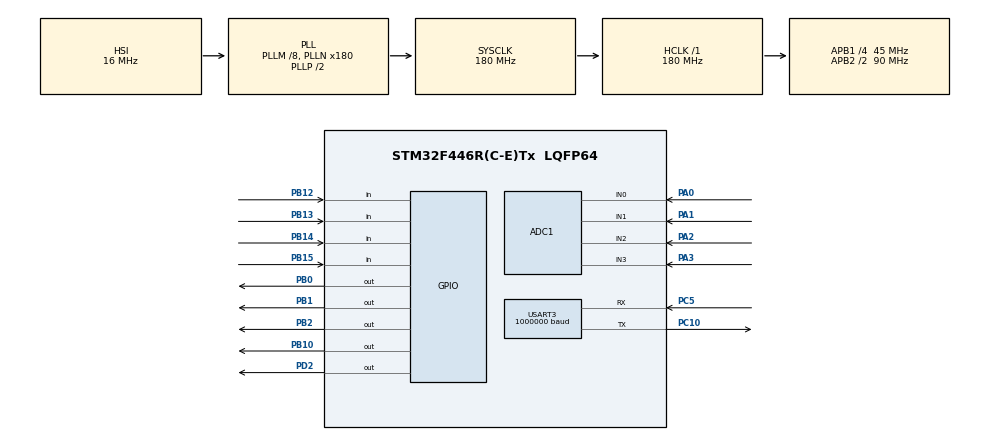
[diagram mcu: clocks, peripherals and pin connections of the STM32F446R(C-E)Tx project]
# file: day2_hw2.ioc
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ADC1.Channel-0\#ChannelRegularConversion=ADC_CHANNEL_0
ADC1.Channel-1\#ChannelRegularConversion=ADC_CHANNEL_1
ADC1.Channel-2\#ChannelRegularConversion=ADC_CHANNEL_2
ADC1.Channel-3\#ChannelRegularConversion=ADC_CHANNEL_3
ADC1.DMAContinuousRequests=ENABLE
ADC1.ExternalTrigConv=ADC_EXTERNALTRIGCONV_T8_TRGO
ADC1.NbrOfConversion=4
ADC1.NbrOfConversionFlag=1
ADC1.Rank-0\#ChannelRegularConversion=1
ADC1.Rank-1\#ChannelRegularConversion=2
ADC1.Rank-2\#ChannelRegularConversion=3
ADC1.Rank-3\#ChannelRegularConversion=4
ADC1.SamplingTime-0\#ChannelRegularConversion=ADC_SAMPLETIME_15CYCLES
ADC1.SamplingTime-1\#ChannelRegularConversion=ADC_SAMPLETIME_15CYCLES
ADC1.SamplingTime-2\#ChannelRegularConversion=ADC_SAMPLETIME_15CYCLES
ADC1.SamplingTime-3\#ChannelRegularConversion=ADC_SAMPLETIME_15CYCLES
ADC1.ScanConvMode=ENABLE
ADC1.master=1
Dma.ADC1.0.Direction=DMA_PERIPH_TO_MEMORY
Dma.ADC1.0.FIFOMode=DMA_FIFOMODE_DISABLE
Dma.ADC1.0.Instance=DMA2_Stream0
Dma.ADC1.0.MemDataAlignment=DMA_MDATAALIGN_WORD
Dma.ADC1.0.MemInc=DMA_MINC_ENABLE
Dma.ADC1.0.Mode=DMA_CIRCULAR
Dma.ADC1.0.PeriphDataAlignment=DMA_PDATAALIGN_WORD
Dma.ADC1.0.PeriphInc=DMA_PINC_DISABLE
Dma.ADC1.0.Priority=DMA_PRIORITY_LOW
Dma.Request0=ADC1
Dma.Request1=USART3_RX
Dma.USART3_RX.1.Direction=DMA_PERIPH_TO_MEMORY
Dma.USART3_RX.1.FIFOMode=DMA_FIFOMODE_DISABLE
Dma.USART3_RX.1.Instance=DMA1_Stream1
Dma.USART3_RX.1.MemDataAlignment=DMA_MDATAALIGN_BYTE
Dma.USART3_RX.1.MemInc=DMA_MINC_ENABLE
Dma.USART3_RX.1.Mode=DMA_CIRCULAR
Dma.USART3_RX.1.PeriphDataAlignment=DMA_PDATAALIGN_BYTE
Dma.USART3_RX.1.PeriphInc=DMA_PINC_DISABLE
Dma.USART3_RX.1.Priority=DMA_PRIORITY_LOW
Mcu.Family=STM32F4
Mcu.Name=STM32F446R(C-E)Tx
Mcu.Package=LQFP64
NVIC.ADC_IRQn=true\:0\:0\:false\:false\:true\:true\:true\:true
NVIC.DMA1_Stream1_IRQn=true\:0\:0\:false\:false\:true\:false\:true\:true
NVIC.DMA2_Stream0_IRQn=true\:0\:0\:false\:false\:true\:false\:true\:true
NVIC.PriorityGroup=NVIC_PRIORITYGROUP_4
NVIC.TIM6_DAC_IRQn=true\:0\:0\:false\:false\:true\:true\:true\:true
NVIC.TIM8_UP_TIM13_IRQn=true\:0\:0\:false\:false\:true\:true\:true\:true
NVIC.USART3_IRQn=true\:0\:0\:false\:false\:true\:true\:true\:true
PA0-WKUP.Signal=ADCx_IN0
PA1.Signal=ADCx_IN1
PA13.Mode=Serial_Wire
PA13.Signal=SYS_JTMS-SWDIO
PA14.Mode=Serial_Wire
PA14.Signal=SYS_JTCK-SWCLK
PA2.Signal=ADCx_IN2
PA3.Signal=ADCx_IN3
PB0.Signal=GPIO_Output
PB1.Signal=GPIO_Output
PB10.Signal=GPIO_Output
PB12.Signal=GPIO_Input
PB13.Signal=GPIO_Input
PB14.Signal=GPIO_Input
PB15.Signal=GPIO_Input
PB2.Signal=GPIO_Output
PC10.Mode=Asynchronous
PC10.Signal=USART3_TX
PC5.Mode=Asynchronous
PC5.Signal=USART3_RX
PD2.Signal=GPIO_Output
PH0-OSC_IN.Mode=HSE-External-Oscillator
PH0-OSC_IN.Signal=RCC_OSC_IN
PH1-OSC_OUT.Mode=HSE-External-Oscillator
PH1-OSC_OUT.Signal=RCC_OSC_OUT
ProjectManager.HeapSize=0x200
ProjectManager.StackSize=0x400
ProjectManager.TargetToolchain=STM32CubeIDE
RCC.AHBFreq_Value=180000000
RCC.APB1CLKDivider=RCC_HCLK_DIV4
RCC.APB1Freq_Value=45000000
RCC.APB1TimFreq_Value=90000000
RCC.APB2CLKDivider=RCC_HCLK_DIV2
RCC.APB2Freq_Value=90000000
RCC.APB2TimFreq_Value=180000000
RCC.CortexFreq_Value=180000000
RCC.HCLKFreq_Value=180000000
RCC.HSE_VALUE=16000000
RCC.PLLM=8
RCC.PLLN=180
RCC.SYSCLKFreq_VALUE=180000000
RCC.SYSCLKSource=RCC_SYSCLKSOURCE_PLLCLK
RCC.USBFreq_Value=180000000
RCC.VCOOutputFreq_Value=360000000
SH.ADCx_IN0.0=ADC1_IN0,IN0
SH.ADCx_IN1.0=ADC1_IN1,IN1
SH.ADCx_IN2.0=ADC1_IN2,IN2
SH.ADCx_IN3.0=ADC1_IN3,IN3
TIM6.Period=100-1
TIM6.Prescaler=90-1
TIM8.Period=10000-1
TIM8.Prescaler=180-1
TIM8.TIM_MasterOutputTrigger=TIM_TRGO_UPDATE
USART3.BaudRate=1000000
USART3.VirtualMode=VM_ASYNC
VP_TIM6_VS_ClockSourceINT.Mode=Enable_Timer
VP_TIM8_VS_ClockSourceINT.Mode=Internal
board=custom

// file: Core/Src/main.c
/* USER CODE BEGIN Header */
/**
  ******************************************************************************
  * @file           : main.c
  * @brief          : Main program body
  ******************************************************************************
  * @attention
  *
  * Copyright (c) 2026 STMicroelectronics.
  * All rights reserved.
  *
  * This software is licensed under terms that can be found in the LICENSE file
  * in the root directory of this software component.
  * If no LICENSE file comes with this software, it is provided AS-IS.
  *
  ******************************************************************************
  */
/* USER CODE END Header */
#include "main.h"
#include "adc.h"
#include "dma.h"
#include "tim.h"
#include "usart.h"
#include "gpio.h"

/* USER CODE BEGIN PD */
#define RX_BUFFER_SIZE 256

#define DXL_ID              14
#define DXL_ADDR_TORQUE_EN  64
#define DXL_ADDR_GOAL_POS   116 // 4byte, 0~4095 이 360도
#define DXL_INST_WRITE      0x03
#define DXL_INST_STATUS     0x55
#define DXL_PARAM_MAX       16u

#define SW_PRESSED          GPIO_PIN_RESET
#define SW_NUM              3u

#define LED_ON              GPIO_PIN_RESET
#define LED_OFF             GPIO_PIN_SET
#define LED_OK_PIN          GPIO_PIN_0 // 응답 정상
#define LED_NG_PIN          GPIO_PIN_1 // 응답 없음 또는 에러
/* USER CODE END PD */

/* USER CODE BEGIN PV */
uint8_t PCrxBuffer[RX_BUFFER_SIZE];

static const uint16_t SW_PIN[SW_NUM]   = { GPIO_PIN_12, GPIO_PIN_13, GPIO_PIN_14 };
static const uint32_t SW_GOAL[SW_NUM]  = { 1024u, 2048u, 0u }; // 90도, 180도, 0도
static uint8_t sw_prev[SW_NUM]         = { 0u }; // 누른 순간만 잡기 위한 직전 상태

uint8_t  rxPacket[RX_BUFFER_SIZE]; // IDLE 인터럽트에서 복사해둔 수신 패킷
volatile uint16_t rxLen  = 0u;
volatile uint8_t  rxFlag = 0u;

volatile uint8_t  dxlError    = 0u; // Status Packet 의 ERR 바이트
volatile uint16_t dxlParamLen = 0u;
volatile uint32_t dxlOkCount  = 0u; // 정상 응답 횟수
volatile uint32_t dxlNgCount  = 0u; // 파싱 실패 횟수
uint8_t  dxlParam[DXL_PARAM_MAX];
/* USER CODE END PV */

void SystemClock_Config(void);
/* USER CODE BEGIN PFP */
void writepacket(uint8_t packet[], int length);
static uint16_t dxlCrc(const uint8_t *data, uint16_t size);
static void dxlWrite(uint8_t id, uint16_t addr, const uint8_t *param, uint16_t n);
static void dxlTorque(uint8_t id, uint8_t on);
static void dxlGoalPosition(uint8_t id, uint32_t pos);
static uint8_t dxlParseStatus(const uint8_t *buf, uint16_t n);
/* USER CODE END PFP */

int main(void)
{

  /* MCU Configuration--------------------------------------------------------*/

  /* Reset of all peripherals, Initializes the Flash interface and the Systick. */
  HAL_Init();

  /* Configure the system clock */
  SystemClock_Config();

  /* Initialize all configured peripherals */
  MX_GPIO_Init();
  MX_DMA_Init();
  MX_ADC1_Init();
  MX_TIM8_Init();
  MX_TIM6_Init();
  MX_USART3_UART_Init();
  /* USER CODE BEGIN 2 */
  LL_DMA_SetMemoryAddress(DMA1, LL_DMA_STREAM_1,(uint32_t)PCrxBuffer);
  LL_DMA_SetPeriphAddress(DMA1, LL_DMA_STREAM_1,(uint32_t)&USART3->DR);
  LL_DMA_SetDataLength(DMA1, LL_DMA_STREAM_1, RX_BUFFER_SIZE);
  LL_DMA_EnableStream(DMA1, LL_DMA_STREAM_1);
  LL_USART_EnableDMAReq_RX(USART3);
  LL_USART_EnableIT_IDLE(USART3);

  HAL_GPIO_WritePin(GPIOB, LED_OK_PIN | LED_NG_PIN, LED_OFF);

  HAL_Delay(100);
  dxlTorque(DXL_ID, 1); // 토크를 켜야 Goal Position 이 먹는다
  HAL_Delay(10);
  /* USER CODE END 2 */

  /* Infinite loop */
  while (1)
  {

    /* USER CODE BEGIN 3 */
    uint8_t i;

    for (i = 0u; i < SW_NUM; i++)
    {
      if (HAL_GPIO_ReadPin(GPIOB, SW_PIN[i]) == SW_PRESSED)
      {
        if (sw_prev[i] == 0u) // 누른 순간에만 1회 전송
        {
          sw_prev[i] = 1u;
          dxlGoalPosition(DXL_ID, SW_GOAL[i]);
        }
      }
      else
      {
        sw_prev[i] = 0u;
      }
    }

    if (rxFlag != 0u)
    {
      rxFlag = 0u;

      if (dxlParseStatus(rxPacket, rxLen) != 0u)
      {
        dxlOkCount++;
        HAL_GPIO_WritePin(GPIOB, LED_OK_PIN, (dxlError == 0u) ? LED_ON : LED_OFF);
        HAL_GPIO_WritePin(GPIOB, LED_NG_PIN, (dxlError == 0u) ? LED_OFF : LED_ON);
      }
      else
      {
        dxlNgCount++;
        HAL_GPIO_WritePin(GPIOB, LED_OK_PIN, LED_OFF);
        HAL_GPIO_WritePin(GPIOB, LED_NG_PIN, LED_ON);
      }
    }

    HAL_Delay(10);
  }
  /* USER CODE END 3 */
}

void SystemClock_Config(void)
{
  RCC_OscInitTypeDef RCC_OscInitStruct = {0};
  RCC_ClkInitTypeDef RCC_ClkInitStruct = {0};

  /** Configure the main internal regulator output voltage
  */
  __HAL_RCC_PWR_CLK_ENABLE();
  __HAL_PWR_VOLTAGESCALING_CONFIG(PWR_REGULATOR_VOLTAGE_SCALE1);

  /** Initializes the RCC Oscillators according to the specified parameters
  * in the RCC_OscInitTypeDef structure.
  */
  RCC_OscInitStruct.OscillatorType = RCC_OSCILLATORTYPE_HSI;
  RCC_OscInitStruct.HSIState = RCC_HSI_ON;
  RCC_OscInitStruct.HSICalibrationValue = RCC_HSICALIBRATION_DEFAULT;
  RCC_OscInitStruct.PLL.PLLState = RCC_PLL_ON;
  RCC_OscInitStruct.PLL.PLLSource = RCC_PLLSOURCE_HSI;
  RCC_OscInitStruct.PLL.PLLM = 8;
  RCC_OscInitStruct.PLL.PLLN = 180;
  RCC_OscInitStruct.PLL.PLLP = RCC_PLLP_DIV2;
  RCC_OscInitStruct.PLL.PLLQ = 2;
  RCC_OscInitStruct.PLL.PLLR = 2;
  if (HAL_RCC_OscConfig(&RCC_OscInitStruct) != HAL_OK)
  {
    Error_Handler();
  }

  /** Activate the Over-Drive mode
  */
  if (HAL_PWREx_EnableOverDrive() != HAL_OK)
  {
    Error_Handler();
  }

  /** Initializes the CPU, AHB and APB buses clocks
  */
  RCC_ClkInitStruct.ClockType = RCC_CLOCKTYPE_HCLK|RCC_CLOCKTYPE_SYSCLK
                              |RCC_CLOCKTYPE_PCLK1|RCC_CLOCKTYPE_PCLK2;
  RCC_ClkInitStruct.SYSCLKSource = RCC_SYSCLKSOURCE_PLLCLK;
  RCC_ClkInitStruct.AHBCLKDivider = RCC_SYSCLK_DIV1;
  RCC_ClkInitStruct.APB1CLKDivider = RCC_HCLK_DIV4;
  RCC_ClkInitStruct.APB2CLKDivider = RCC_HCLK_DIV2;

  if (HAL_RCC_ClockConfig(&RCC_ClkInitStruct, FLASH_LATENCY_5) != HAL_OK)
  {
    Error_Handler();
  }
}

/* USER CODE BEGIN 4 */
void writepacket(uint8_t packet[], int length){
	for (int i = 0; i < length; i++){
		while(!LL_USART_IsActiveFlag_TXE(USART3));
		LL_USART_TransmitData8(USART3, packet[i]);
	}
	while(!LL_USART_IsActiveFlag_TC(USART3)); // 반이중이라 마지막 바이트까지 내보내고 버스를 놓는다
}

static uint16_t dxlCrc(const uint8_t *data, uint16_t size) // Protocol 2.0 CRC-16, poly 0x8005
{
  uint16_t crc = 0u;
  uint16_t i;
  uint8_t  b;

  for (i = 0u; i < size; i++)
  {
    crc ^= (uint16_t)((uint16_t)data[i] << 8);
    for (b = 0u; b < 8u; b++)
    {
      crc = (crc & 0x8000u) ? (uint16_t)((uint16_t)(crc << 1) ^ 0x8005u)
                            : (uint16_t)(crc << 1);
    }
  }
  return crc;
}

static void dxlWrite(uint8_t id, uint16_t addr, const uint8_t *param, uint16_t n)
{
  uint8_t  packet[16];
  uint16_t len = (uint16_t)(n + 5u); // 주소 2 + 데이터 n + Instruction 1 + CRC 2
  uint16_t crc;
  uint16_t i;

  packet[0] = 0xFF;
  packet[1] = 0xFF;
  packet[2] = 0xFD;
  packet[3] = 0x00;
  packet[4] = id;
  packet[5] = (uint8_t)(len & 0xFFu);
  packet[6] = (uint8_t)(len >> 8);
  packet[7] = DXL_INST_WRITE;
  packet[8] = (uint8_t)(addr & 0xFFu);
  packet[9] = (uint8_t)(addr >> 8);

  for (i = 0u; i < n; i++)
  {
    packet[10 + i] = param[i];
  }

  crc = dxlCrc(packet, (uint16_t)(10u + n));
  packet[10 + n] = (uint8_t)(crc & 0xFFu);
  packet[11 + n] = (uint8_t)(crc >> 8);

  writepacket(packet, (int)(12u + n));
}

static void dxlTorque(uint8_t id, uint8_t on)
{
  uint8_t d = on;

  dxlWrite(id, DXL_ADDR_TORQUE_EN, &d, 1u);
}

static void dxlGoalPosition(uint8_t id, uint32_t pos)
{
  uint8_t d[4];

  d[0] = (uint8_t)(pos);
  d[1] = (uint8_t)(pos >> 8);
  d[2] = (uint8_t)(pos >> 16);
  d[3] = (uint8_t)(pos >> 24);
  dxlWrite(id, DXL_ADDR_GOAL_POS, d, 4u);
}

static uint8_t dxlParseStatus(const uint8_t *buf, uint16_t n)
{
  uint16_t i;
  uint16_t j;
  uint16_t len;
  uint16_t total;
  uint16_t crc;

  for (i = 0u; (uint32_t)i + 11u <= (uint32_t)n; i++) // 앞에 송신 에코가 섞일 수 있어 스캔한다
  {
    if (buf[i] != 0xFF || buf[i + 1] != 0xFF || buf[i + 2] != 0xFD || buf[i + 3] != 0x00)
    {
      continue;
    }
    if (buf[i + 4] != DXL_ID || buf[i + 7] != DXL_INST_STATUS)
    {
      continue;
    }

    len = (uint16_t)buf[i + 5] | (uint16_t)((uint16_t)buf[i + 6] << 8);
    if (len < 4u)
    {
      continue;
    }

    total = (uint16_t)(len + 7u);
    if ((uint32_t)i + (uint32_t)total > (uint32_t)n)
    {
      continue;
    }

    crc = dxlCrc(&buf[i], (uint16_t)(total - 2u));
    if (crc != (uint16_t)((uint16_t)buf[i + total - 1] << 8 | buf[i + total - 2])) // CRC 재계산해서 대조
    {
      continue;
    }

    dxlError    = buf[i + 8];
    dxlParamLen = (uint16_t)(len - 4u);
    if (dxlParamLen > DXL_PARAM_MAX)
    {
      dxlParamLen = DXL_PARAM_MAX;
    }
    for (j = 0u; j < dxlParamLen; j++)
    {
      dxlParam[j] = buf[i + 9u + j];
    }
    return 1u;
  }

  return 0u;
}

/* USER CODE END 4 */

void Error_Handler(void)
{
  __disable_irq();
  while (1)
  {
  }
}
